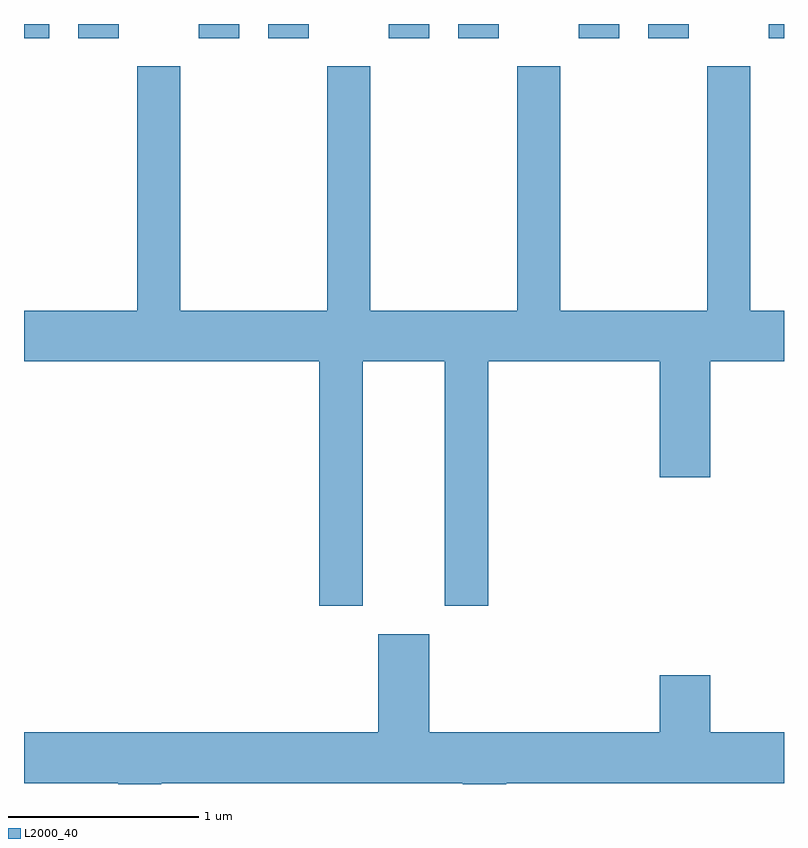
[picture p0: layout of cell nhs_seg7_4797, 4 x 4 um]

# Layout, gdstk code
import gdstk
lib = gdstk.Library(unit=1e-6, precision=1e-09)
def R(c, l, rs):  # rectangles x0, y0, x1, y1
    for r in rs: c.add(gdstk.rectangle(r[:2], r[2:], *l))
def P(c, l, *ps):  # polygons
    for p in ps: c.add(gdstk.Polygon(p, *l))
L2000_40 = (2000, 40)

nhs_seg7_4797 = lib.new_cell('nhs_seg7_4797')
R(nhs_seg7_4797, L2000_40, [(331.611,1778.176,331.744,1778.252), (331.896,1778.176,332.109,1778.252), (332.531,1778.176,332.744,1778.252), (332.896,1778.176,333.109,1778.252), (333.531,1778.176,333.744,1778.252), (333.896,1778.176,334.109,1778.252), (334.531,1778.176,334.744,1778.252), (334.896,1778.176,335.109,1778.252), (335.531,1778.176,335.611,1778.252)])
P(nhs_seg7_4797, L2000_40, [(335.224,1776.476),(335.611,1776.476),(335.611,1776.744),(335.434,1776.744),(335.434,1778.029),(335.206,1778.029),(335.206,1776.744),(334.434,1776.744),(334.434,1778.029),(334.206,1778.029),(334.206,1776.744),(333.434,1776.744),(333.434,1778.029),(333.206,1778.029),(333.206,1776.744),(332.434,1776.744),(332.434,1778.029),(332.206,1778.029),(332.206,1776.744),(331.611,1776.744),(331.611,1776.476),(333.166,1776.476),(333.166,1775.191),(333.394,1775.191),(333.394,1776.476),(333.826,1776.476),(333.826,1775.191),(334.054,1775.191),(334.054,1776.476),(334.956,1776.476),(334.956,1775.866),(335.224,1775.866)],
  [(332.334,1774.256),(333.921,1774.256),(333.921,1774.252),(334.149,1774.252),(334.149,1774.256),(335.611,1774.256),(335.611,1774.524),(335.224,1774.524),(335.224,1774.824),(334.956,1774.824),(334.956,1774.524),(333.744,1774.524),(333.744,1775.039),(333.476,1775.039),(333.476,1774.524),(331.611,1774.524),(331.611,1774.256),(332.106,1774.256),(332.106,1774.252),(332.334,1774.252)])

lib.write_gds('nhs_seg7_4797.gds')
